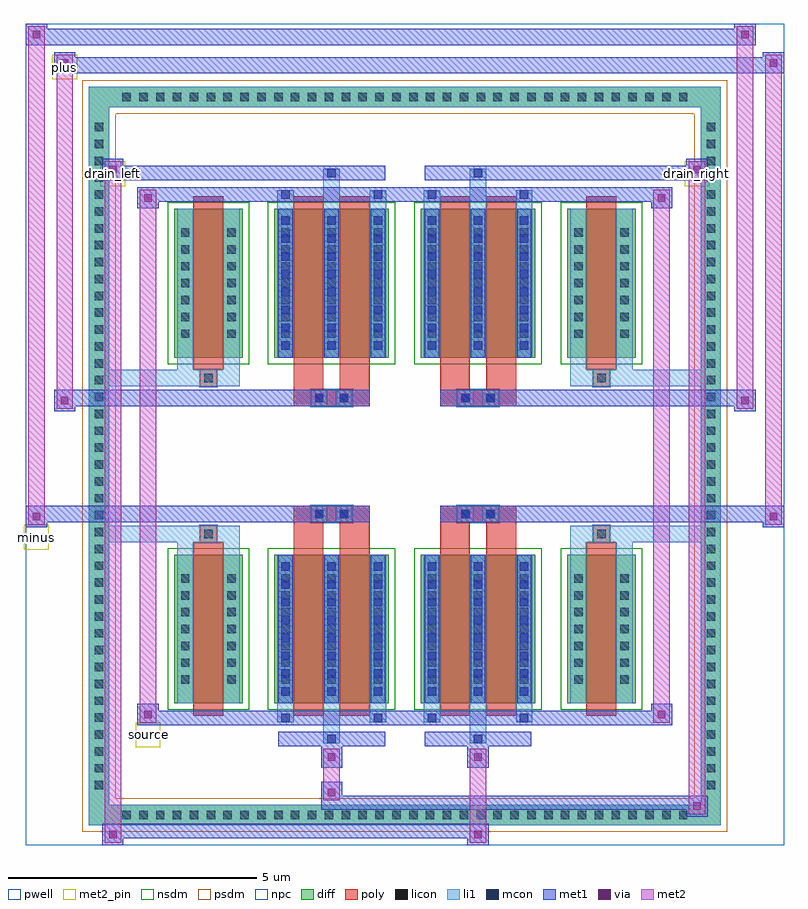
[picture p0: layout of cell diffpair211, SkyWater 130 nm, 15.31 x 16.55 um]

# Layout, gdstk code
import gdstk
lib = gdstk.Library(unit=1e-6, precision=5e-09)
def R(c, l, rs):  # rectangles x0, y0, x1, y1
    for r in rs: c.add(gdstk.rectangle(r[:2], r[2:], *l))
def A(c, l, x, y, w, h, nx, ny, dx, dy):  # array of equal rectangles
    R(c, l, [(x+i*dx, y+j*dy, x+i*dx+w, y+j*dy+h) for i in range(nx) for j in range(ny)])
def P(c, l, *ps):  # polygons
    for p in ps: c.add(gdstk.Polygon(p, *l))
pwell = (64, 44)
diff = (65, 20)
poly = (66, 20)
licon = (66, 44)
li1 = (67, 20)
mcon = (67, 44)
met1 = (68, 20)
via = (68, 44)
met2_pin = (69, 16)
met2 = (69, 20)
nsdm = (93, 44)
psdm = (94, 20)
npc = (95, 20)

diffpair211 = lib.new_cell('diffpair211')
R(diffpair211, pwell, [(-7.64,-7.84,7.64,8.71), (-4.96,-6.03,-0.01,-0.805), (0.01,-6.03,4.96,-0.805), (-4.96,0.805,-0.01,6.03), (0.01,0.805,4.96,6.03)])
A(diffpair211, diff, -5.815, -7.44, 0.41, 0.41, 34, 2, 0.34, 14.47)
A(diffpair211, diff, -6.37, -6.835, 0.41, 0.41, 1, 40, 0, 0.34)
A(diffpair211, diff, 5.96, -6.835, 0.41, 0.41, 1, 40, 0, 0.34)
R(diffpair211, diff, [(-5.815,-7.44,5.815,-7.03), (-6.37,-6.835,-5.96,6.835), (5.96,-6.835,6.37,6.835), (-4.65,-4.985,-3.27,-1.985), (-2.63,-4.985,-0.32,-1.985), (0.32,-4.985,2.63,-1.985), (3.27,-4.985,4.65,-1.985), (-4.65,1.985,-3.27,4.985), (-2.63,1.985,-0.32,4.985), (0.32,1.985,2.63,4.985), (3.27,1.985,4.65,4.985), (-5.815,7.03,5.815,7.44)])
P(diffpair211, diff, [(6.37,7.44),(-6.37,7.44),(-6.37,-7.03),(-5.96,-7.03),(-5.96,7.03),(5.96,7.03),(5.96,-7.03),(-5.96,-7.03),(-6.37,-7.03),(-6.37,-7.44),(6.37,-7.44)])
R(diffpair211, poly, [(-4.26,-5.235,-3.66,-1.735), (-2.24,-5.235,-1.64,-1.735), (-1.31,-5.235,-0.71,-1.735), (0.71,-5.235,1.31,-1.735), (1.64,-5.235,2.24,-1.735), (3.66,-5.235,4.26,-1.735), (-4.125,-1.735,-3.795,-1.405), (-4.125,-1.735,-3.795,-1.405), (-2.24,-1.735,-1.64,-1.335), (-1.31,-1.735,-0.71,-1.335), (0.71,-1.735,1.31,-1.335), (1.64,-1.735,2.24,-1.335), (3.795,-1.735,4.125,-1.405), (3.795,-1.735,4.125,-1.405), (-2.24,-1.335,-0.71,-1.005), (-1.89,-1.335,-1.56,-1.005), (-1.39,-1.335,-1.06,-1.005), (0.71,-1.335,2.24,-1.005), (1.06,-1.335,1.39,-1.005), (1.56,-1.335,1.89,-1.005), (-2.24,1.005,-0.71,1.335), (-1.89,1.005,-1.56,1.335), (-1.39,1.005,-1.06,1.335), (0.71,1.005,2.24,1.335), (1.06,1.005,1.39,1.335), (1.56,1.005,1.89,1.335), (-2.24,1.335,-1.64,1.735), (-1.31,1.335,-0.71,1.735), (0.71,1.335,1.31,1.735), (1.64,1.335,2.24,1.735), (-4.125,1.405,-3.795,1.735), (-4.125,1.405,-3.795,1.735), (3.795,1.405,4.125,1.735), (3.795,1.405,4.125,1.735), (-4.26,1.735,-3.66,5.235), (-2.24,1.735,-1.64,5.235), (-1.31,1.735,-0.71,5.235), (0.71,1.735,1.31,5.235), (1.64,1.735,2.24,5.235), (3.66,1.735,4.26,5.235)])
A(diffpair211, licon, -5.695, -7.32, 0.17, 0.17, 34, 2, 0.34, 14.47)
A(diffpair211, licon, -6.25, -6.715, 0.17, 0.17, 1, 40, 0, 0.34)
A(diffpair211, licon, 6.08, -6.715, 0.17, 0.17, 1, 40, 0, 0.34)
A(diffpair211, licon, -4.51, -4.59, 0.17, 0.17, 1, 7, 0, 0.34)
A(diffpair211, licon, -3.58, -4.59, 0.17, 0.17, 1, 7, 0, 0.34)
A(diffpair211, licon, -2.49, -4.59, 0.17, 0.17, 3, 7, 0.93, 0.34)
A(diffpair211, licon, 0.46, -4.59, 0.17, 0.17, 3, 7, 0.93, 0.34)
A(diffpair211, licon, 3.41, -4.59, 0.17, 0.17, 1, 7, 0, 0.34)
A(diffpair211, licon, 4.34, -4.59, 0.17, 0.17, 1, 7, 0, 0.34)
A(diffpair211, licon, -4.51, 2.38, 0.17, 0.17, 1, 7, 0, 0.34)
A(diffpair211, licon, -3.58, 2.38, 0.17, 0.17, 1, 7, 0, 0.34)
A(diffpair211, licon, -2.49, 2.38, 0.17, 0.17, 3, 7, 0.93, 0.34)
A(diffpair211, licon, 0.46, 2.38, 0.17, 0.17, 3, 7, 0.93, 0.34)
A(diffpair211, licon, 3.41, 2.38, 0.17, 0.17, 1, 7, 0, 0.34)
A(diffpair211, licon, 4.34, 2.38, 0.17, 0.17, 1, 7, 0, 0.34)
R(diffpair211, licon, [(-4.045,-1.655,-3.875,-1.485), (3.875,-1.655,4.045,-1.485), (-1.81,-1.255,-1.64,-1.085), (-1.31,-1.255,-1.14,-1.085), (1.14,-1.255,1.31,-1.085), (1.64,-1.255,1.81,-1.085), (-1.81,1.085,-1.64,1.255), (-1.31,1.085,-1.14,1.255), (1.14,1.085,1.31,1.255), (1.64,1.085,1.81,1.255), (-4.045,1.485,-3.875,1.655), (3.875,1.485,4.045,1.655)])
A(diffpair211, li1, -5.775, -7.4, 0.33, 0.33, 34, 2, 0.34, 14.47)
A(diffpair211, li1, -6.33, -6.795, 0.33, 0.33, 1, 40, 0, 0.34)
A(diffpair211, li1, 6, -6.795, 0.33, 0.33, 1, 40, 0, 0.34)
A(diffpair211, li1, -2.57, -4.985, 0.33, 3, 3, 2, 0.93, 6.97)
A(diffpair211, li1, 0.38, -4.985, 0.33, 3, 3, 2, 0.93, 6.97)
A(diffpair211, li1, -2.49, -4.83, 0.17, 0.17, 3, 8, 0.93, 0.36)
A(diffpair211, li1, -2.49, -4.83, 0.17, 2.69, 3, 2, 0.93, 6.97)
A(diffpair211, li1, 0.46, -4.83, 0.17, 0.17, 3, 8, 0.93, 0.36)
A(diffpair211, li1, 0.46, -4.83, 0.17, 2.69, 3, 2, 0.93, 6.97)
A(diffpair211, li1, -4.59, -4.67, 0.33, 0.33, 1, 7, 0, 0.34)
A(diffpair211, li1, -3.66, -4.67, 0.33, 0.33, 1, 7, 0, 0.34)
A(diffpair211, li1, -2.57, -4.67, 0.33, 0.33, 3, 7, 0.93, 0.34)
A(diffpair211, li1, 0.38, -4.67, 0.33, 0.33, 3, 7, 0.93, 0.34)
A(diffpair211, li1, 3.33, -4.67, 0.33, 0.33, 1, 7, 0, 0.34)
A(diffpair211, li1, 4.26, -4.67, 0.33, 0.33, 1, 7, 0, 0.34)
A(diffpair211, li1, -2.49, 2.14, 0.17, 0.17, 3, 8, 0.93, 0.36)
A(diffpair211, li1, 0.46, 2.14, 0.17, 0.17, 3, 8, 0.93, 0.36)
A(diffpair211, li1, -4.59, 2.3, 0.33, 0.33, 1, 7, 0, 0.34)
A(diffpair211, li1, -3.66, 2.3, 0.33, 0.33, 1, 7, 0, 0.34)
A(diffpair211, li1, -2.57, 2.3, 0.33, 0.33, 3, 7, 0.93, 0.34)
A(diffpair211, li1, 0.38, 2.3, 0.33, 0.33, 3, 7, 0.93, 0.34)
A(diffpair211, li1, 3.33, 2.3, 0.33, 0.33, 1, 7, 0, 0.34)
A(diffpair211, li1, 4.26, 2.3, 0.33, 0.33, 1, 7, 0, 0.34)
R(diffpair211, li1, [(-6.37,-7.44,-5.96,-7.03), (-6.37,-7.44,-5.96,-7.03), (-5.96,-7.44,5.96,-7.03), (5.96,-7.44,6.37,-7.03), (5.96,-7.44,6.37,-7.03), (-6.37,-7.03,-5.96,7.03), (5.96,-7.03,6.37,7.03), (-1.64,-5.79,-1.31,-4.985), (-1.56,-5.79,-1.39,-5.62), (1.31,-5.79,1.64,-4.985), (1.39,-5.79,1.56,-5.62), (-2.57,-5.36,-2.24,-4.985), (-2.49,-5.36,-2.32,-5.19), (-0.71,-5.36,-0.38,-4.985), (-0.63,-5.36,-0.46,-5.19), (0.38,-5.36,0.71,-4.985), (0.46,-5.36,0.63,-5.19), (2.24,-5.36,2.57,-4.985), (2.32,-5.36,2.49,-5.19), (-4.59,-4.985,-4.26,-1.985), (-3.66,-4.985,-3.33,-1.985), (3.33,-4.985,3.66,-1.985), (4.26,-4.985,4.59,-1.985), (-4.59,-1.985,-4.26,-1.405), (-3.66,-1.985,-3.33,-1.405), (3.33,-1.985,3.66,-1.405), (4.26,-1.985,4.59,-1.405), (-6.37,-1.735,-4.125,-1.405), (-4.59,-1.735,-4.125,-1.405), (-4.125,-1.735,-3.795,-1.405), (-3.795,-1.735,-3.33,-1.405), (3.33,-1.735,3.795,-1.405), (3.795,-1.735,4.125,-1.405), (3.795,-1.735,6.37,-1.405), (4.125,-1.735,4.59,-1.405), (-1.89,-1.335,-1.56,-1.005), (-1.39,-1.335,-1.06,-1.005), (1.06,-1.335,1.39,-1.005), (1.56,-1.335,1.89,-1.005), (-1.89,1.005,-1.56,1.335), (-1.39,1.005,-1.06,1.335), (1.06,1.005,1.39,1.335), (1.56,1.005,1.89,1.335), (-6.37,1.405,-4.125,1.735), (-4.59,1.405,-4.125,1.735), (-4.59,1.405,-4.26,1.985), (-4.125,1.405,-3.795,1.735), (-3.795,1.405,-3.33,1.735), (-3.66,1.405,-3.33,1.985), (3.33,1.405,3.795,1.735), (3.33,1.405,3.66,1.985), (3.795,1.405,4.125,1.735), (3.795,1.405,6.37,1.735), (4.125,1.405,4.59,1.735), (4.26,1.405,4.59,1.985), (-4.59,1.985,-4.26,4.985), (-3.66,1.985,-3.33,4.985), (3.33,1.985,3.66,4.985), (4.26,1.985,4.59,4.985), (-2.57,4.985,-2.24,5.36), (-1.64,4.985,-1.31,5.79), (-0.71,4.985,-0.38,5.36), (0.38,4.985,0.71,5.36), (1.31,4.985,1.64,5.79), (2.24,4.985,2.57,5.36), (-2.49,5.19,-2.32,5.36), (-0.63,5.19,-0.46,5.36), (0.46,5.19,0.63,5.36), (2.32,5.19,2.49,5.36), (-1.56,5.62,-1.39,5.79), (1.39,5.62,1.56,5.79), (-6.37,7.03,-5.96,7.44), (-6.37,7.03,-5.96,7.44), (-5.96,7.03,5.96,7.44), (5.96,7.03,6.37,7.44), (5.96,7.03,6.37,7.44)])
A(diffpair211, mcon, -2.49, -4.83, 0.17, 0.17, 3, 8, 0.93, 0.36)
A(diffpair211, mcon, 0.46, -4.83, 0.17, 0.17, 3, 8, 0.93, 0.36)
A(diffpair211, mcon, -2.49, 2.14, 0.17, 0.17, 3, 8, 0.93, 0.36)
A(diffpair211, mcon, 0.46, 2.14, 0.17, 0.17, 3, 8, 0.93, 0.36)
R(diffpair211, mcon, [(-1.56,-5.79,-1.39,-5.62), (1.39,-5.79,1.56,-5.62), (-2.49,-5.36,-2.32,-5.19), (-0.63,-5.36,-0.46,-5.19), (0.46,-5.36,0.63,-5.19), (2.32,-5.36,2.49,-5.19), (-1.81,-1.255,-1.64,-1.085), (-1.31,-1.255,-1.14,-1.085), (1.14,-1.255,1.31,-1.085), (1.64,-1.255,1.81,-1.085), (-1.81,1.085,-1.64,1.255), (-1.31,1.085,-1.14,1.255), (1.14,1.085,1.31,1.255), (1.64,1.085,1.81,1.255), (-2.49,5.19,-2.32,5.36), (-0.63,5.19,-0.46,5.36), (0.46,5.19,0.63,5.36), (2.32,5.19,2.49,5.36), (-1.56,5.62,-1.39,5.79), (1.39,5.62,1.56,5.79)])
A(diffpair211, met1, -2.55, -4.985, 0.29, 3, 3, 2, 0.93, 6.97)
A(diffpair211, met1, 0.4, -4.985, 0.29, 3, 3, 2, 0.93, 6.97)
A(diffpair211, met1, -2.55, -4.89, 0.29, 0.29, 3, 8, 0.93, 0.36)
A(diffpair211, met1, 0.4, -4.89, 0.29, 0.29, 3, 8, 0.93, 0.36)
A(diffpair211, met1, -2.55, 2.08, 0.29, 0.29, 3, 8, 0.93, 0.36)
A(diffpair211, met1, 0.4, 2.08, 0.29, 0.29, 3, 8, 0.93, 0.36)
R(diffpair211, met1, [(-6.1,-7.84,-5.67,-7.41), (1.26,-7.84,1.69,-7.41), (-6.1,-7.7,1.69,-7.41), (5.67,-7.27,6.1,-6.84), (-1.69,-7.13,6.1,-6.84), (-1.69,-6.99,-1.26,-6.56), (-1.69,-6.28,-1.26,-5.85), (1.26,-6.28,1.69,-5.85), (-2.55,-5.85,-0.4,-5.56), (-1.62,-5.85,-1.33,-5.56), (0.4,-5.85,2.55,-5.56), (1.33,-5.85,1.62,-5.56), (-5.39,-5.42,-4.96,-4.99), (-5.39,-5.42,-2.55,-5.13), (-2.55,-5.42,-2.26,-5.13), (-2.55,-5.42,-0.4,-5.13), (-0.69,-5.42,-0.4,-5.13), (-0.4,-5.42,0.4,-5.13), (0.4,-5.42,0.69,-5.13), (0.4,-5.42,2.55,-5.13), (2.26,-5.42,2.55,-5.13), (2.55,-5.42,5.39,-5.13), (4.96,-5.42,5.39,-4.99), (-7.64,-1.435,-7.21,-1.005), (7.21,-1.435,7.64,-1.005), (-7.64,-1.335,-0.71,-1.005), (-2.24,-1.335,-0.71,-1.005), (0.71,-1.335,2.24,-1.005), (0.71,-1.335,7.64,-1.005), (-1.87,-1.315,-1.58,-1.025), (-1.37,-1.315,-1.08,-1.025), (1.08,-1.315,1.37,-1.025), (1.58,-1.315,1.87,-1.025), (-7.07,0.905,-6.64,1.335), (6.64,0.905,7.07,1.335), (-7.07,1.005,-2.24,1.335), (-2.24,1.005,-0.71,1.335), (0.71,1.005,2.24,1.335), (2.24,1.005,7.07,1.335), (-1.87,1.025,-1.58,1.315), (-1.37,1.025,-1.08,1.315), (1.08,1.025,1.37,1.315), (1.58,1.025,1.87,1.315), (-5.39,4.99,-4.96,5.42), (4.96,4.99,5.39,5.42), (-5.39,5.13,-2.55,5.42), (-2.55,5.13,-2.26,5.42), (-2.55,5.13,-0.4,5.42), (-0.69,5.13,-0.4,5.42), (-0.4,5.13,0.4,5.42), (0.4,5.13,0.69,5.42), (0.4,5.13,2.55,5.42), (2.26,5.13,2.55,5.42), (2.55,5.13,5.39,5.42), (-6.1,5.56,-5.67,5.99), (-6.1,5.56,-2.55,5.85), (-2.55,5.56,-0.4,5.85), (-1.62,5.56,-1.33,5.85), (0.4,5.56,2.55,5.85), (1.33,5.56,1.62,5.85), (2.55,5.56,6.1,5.85), (5.67,5.56,6.1,5.99), (-7.07,7.71,-6.64,8.14), (-7.07,7.71,-4.96,8.04), (-4.96,7.71,4.96,8.04), (4.96,7.71,7.64,8.04), (7.21,7.71,7.64,8.14), (-7.64,8.28,-7.21,8.71), (-7.64,8.28,-4.96,8.61), (-4.96,8.28,4.96,8.61), (4.96,8.28,7.07,8.61), (6.64,8.28,7.07,8.71)])
R(diffpair211, via, [(-5.96,-7.7,-5.81,-7.55), (1.4,-7.7,1.55,-7.55), (5.81,-7.13,5.96,-6.98), (-1.55,-6.85,-1.4,-6.7), (-1.55,-6.14,-1.4,-5.99), (1.4,-6.14,1.55,-5.99), (-5.25,-5.28,-5.1,-5.13), (5.1,-5.28,5.25,-5.13), (-7.5,-1.295,-7.35,-1.145), (7.35,-1.295,7.5,-1.145), (-6.93,1.045,-6.78,1.195), (6.78,1.045,6.93,1.195), (-5.25,5.13,-5.1,5.28), (5.1,5.13,5.25,5.28), (-5.96,5.7,-5.81,5.85), (5.81,5.7,5.96,5.85), (-6.93,7.85,-6.78,8), (7.35,7.85,7.5,8), (-7.5,8.42,-7.35,8.57), (6.78,8.42,6.93,8.57)])
R(diffpair211, met2_pin, [(-5.425,-5.87,-4.925,-5.37), (-7.675,-1.885,-7.175,-1.385), (-6.135,5.44,-5.635,5.94), (5.635,5.44,6.135,5.94), (-7.105,7.59,-6.605,8.09)])
R(diffpair211, met2, [(-6.05,-7.79,-5.72,-7.46), (-6.05,-7.79,-5.72,5.94), (1.31,-7.79,1.64,-7.46), (1.31,-7.46,1.64,-6.23), (5.72,-7.22,6.05,-6.89), (5.72,-7.22,6.05,5.94), (-1.64,-6.94,-1.31,-6.61), (-1.64,-6.61,-1.31,-6.23), (-1.64,-6.23,-1.31,-5.9), (1.31,-6.23,1.64,-5.9), (-5.34,-5.37,-5.01,-5.04), (-5.34,-5.37,-5.01,5.37), (5.01,-5.37,5.34,-5.04), (5.01,-5.37,5.34,5.37), (-7.59,-1.385,-7.26,-1.055), (-7.59,-1.385,-7.26,8.66), (7.26,-1.385,7.59,-1.055), (7.26,-1.385,7.59,8.09), (-7.02,0.955,-6.69,1.285), (-7.02,0.955,-6.69,8.09), (6.69,0.955,7.02,1.285), (6.69,0.955,7.02,8.66), (-5.34,5.04,-5.01,5.37), (5.01,5.04,5.34,5.37), (-6.05,5.61,-5.72,5.94), (5.72,5.61,6.05,5.94), (-7.02,7.76,-6.69,8.09), (7.26,7.76,7.59,8.09), (-7.59,8.33,-7.26,8.66), (6.69,8.33,7.02,8.66)])
P(diffpair211, met2, [(7.59,-1.385),(7.59,-1.385),(7.59,-1.055),(7.59,-1.055)],
  [(7.59,7.76),(7.59,7.76),(7.59,8.09),(7.59,8.09)],
  [(-7.26,-1.385),(-7.26,-1.385),(-7.26,-1.055),(-7.26,-1.055)],
  [(-7.26,8.33),(-7.26,8.33),(-7.26,8.66),(-7.26,8.66)],
  [(7.02,0.955),(7.02,0.955),(7.02,1.285),(7.02,1.285)],
  [(7.02,8.33),(7.02,8.33),(7.02,8.66),(7.02,8.66)],
  [(-6.69,0.955),(-6.69,0.955),(-6.69,1.285),(-6.69,1.285)],
  [(-6.69,7.76),(-6.69,7.76),(-6.69,8.09),(-6.69,8.09)],
  [(-5.72,-7.79),(-5.72,-7.79),(-5.72,-7.46),(-5.72,-7.46)],
  [(-5.72,5.61),(-5.72,5.61),(-5.72,5.94),(-5.72,5.94)],
  [(6.05,-7.22),(6.05,-7.22),(6.05,-6.89),(6.05,-6.89)],
  [(6.05,5.61),(6.05,5.61),(6.05,5.94),(6.05,5.94)],
  [(-5.01,-5.37),(-5.01,-5.37),(-5.01,-5.04),(-5.01,-5.04)],
  [(-5.01,5.04),(-5.01,5.04),(-5.01,5.37),(-5.01,5.37)],
  [(5.34,-5.37),(5.34,-5.37),(5.34,-5.04),(5.34,-5.04)],
  [(5.34,5.04),(5.34,5.04),(5.34,5.37),(5.34,5.37)])
R(diffpair211, nsdm, [(-4.78,-5.115,-3.14,-1.855), (-2.76,-5.115,-0.19,-1.855), (0.19,-5.115,2.76,-1.855), (3.14,-5.115,4.78,-1.855), (-4.78,1.855,-3.14,5.115), (-2.76,1.855,-0.19,5.115), (0.19,1.855,2.76,5.115), (3.14,1.855,4.78,5.115)])
P(diffpair211, psdm, [(6.5,7.57),(-6.5,7.57),(-6.5,-6.9),(-5.83,-6.9),(-5.83,6.9),(5.83,6.9),(5.83,-6.9),(-5.83,-6.9),(-6.5,-6.9),(-6.5,-7.57),(6.5,-7.57)])
R(diffpair211, npc, [(-4.145,-1.755,-3.775,-1.385), (3.775,-1.755,4.145,-1.385), (-1.91,-1.355,-1.54,-0.985), (-1.91,-1.355,-1.04,-0.985), (-1.91,-1.355,-1.04,-0.985), (-1.41,-1.355,-1.04,-0.985), (1.04,-1.355,1.41,-0.985), (1.04,-1.355,1.91,-0.985), (1.04,-1.355,1.91,-0.985), (1.54,-1.355,1.91,-0.985), (-1.91,0.985,-1.54,1.355), (-1.91,0.985,-1.04,1.355), (-1.91,0.985,-1.04,1.355), (-1.41,0.985,-1.04,1.355), (1.04,0.985,1.41,1.355), (1.04,0.985,1.91,1.355), (1.04,0.985,1.91,1.355), (1.54,0.985,1.91,1.355), (-4.145,1.385,-3.775,1.755), (3.775,1.385,4.145,1.755)])
diffpair211.add(gdstk.Label('minus', (-7.425,-1.635), layer=69, texttype=5))
diffpair211.add(gdstk.Label('drain_right', (5.885,5.69), layer=69, texttype=5))
diffpair211.add(gdstk.Label('drain_left', (-5.885,5.69), layer=69, texttype=5))
diffpair211.add(gdstk.Label('source', (-5.175,-5.62), layer=69, texttype=5))
diffpair211.add(gdstk.Label('plus', (-6.855,7.84), layer=69, texttype=5))

lib.write_gds('diffpair211.gds')
